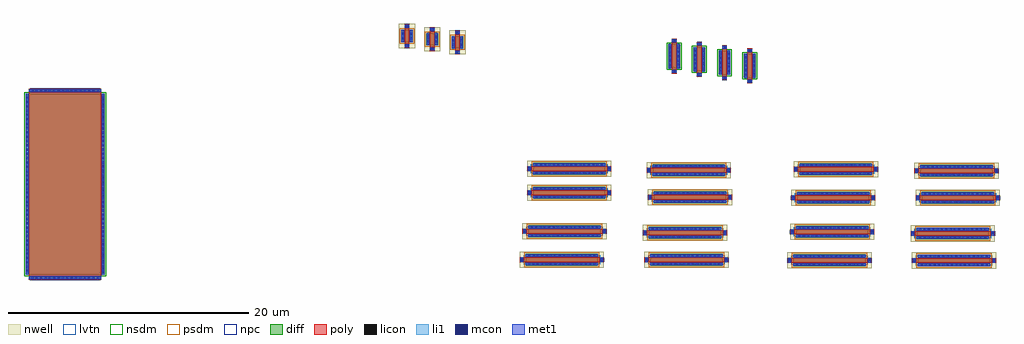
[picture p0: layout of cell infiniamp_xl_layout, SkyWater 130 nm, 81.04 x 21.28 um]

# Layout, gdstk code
from math import pi, radians
import gdstk
lib = gdstk.Library(unit=1e-6, precision=1e-09)
def R(c, l, rs):  # rectangles x0, y0, x1, y1
    for r in rs: c.add(gdstk.rectangle(r[:2], r[2:], *l))
def A(c, l, x, y, w, h, nx, ny, dx, dy):  # array of equal rectangles
    R(c, l, [(x+i*dx, y+j*dy, x+i*dx+w, y+j*dy+h) for i in range(nx) for j in range(ny)])
nwell = (64, 20)
diff = (65, 20)
poly = (66, 20)
licon = (66, 44)
li1 = (67, 20)
mcon = (67, 44)
met1 = (68, 20)
nsdm = (93, 44)
psdm = (94, 20)
npc = (95, 20)
lvtn = (125, 44)

sky130_fd_pr__pfet_01v8_ = lib.new_cell('sky130_fd_pr__pfet_01v8_lvt_UJMANC')
R(sky130_fd_pr__pfet_01v8_, nwell, [(0,0.005,1.34,7.005)])
R(sky130_fd_pr__pfet_01v8_, diff, [(0.18,0.505,1.16,6.505)])
R(sky130_fd_pr__pfet_01v8_, poly, [(0.47,0.02,0.87,6.99)])
A(sky130_fd_pr__pfet_01v8_, licon, 0.24, 0.7, 0.17, 0.17, 1, 17, 0, 0.34)
A(sky130_fd_pr__pfet_01v8_, licon, 0.93, 0.7, 0.17, 0.17, 1, 17, 0, 0.34)
R(sky130_fd_pr__pfet_01v8_, licon, [(0.585,0.1,0.755,0.27), (0.585,6.74,0.755,6.91)])
R(sky130_fd_pr__pfet_01v8_, li1, [(0.47,0.1,0.87,0.27), (0.24,0.485,0.41,6.525), (0.93,0.485,1.1,6.525), (0.47,6.74,0.87,6.91)])
A(sky130_fd_pr__pfet_01v8_, mcon, 0.24, 0.72, 0.17, 0.17, 1, 16, 0, 0.36)
A(sky130_fd_pr__pfet_01v8_, mcon, 0.93, 0.72, 0.17, 0.17, 1, 16, 0, 0.36)
R(sky130_fd_pr__pfet_01v8_, mcon, [(0.585,0.1,0.755,0.27), (0.585,6.74,0.755,6.91)])
R(sky130_fd_pr__pfet_01v8_, met1, [(0.49,0.07,0.85,0.3), (0.21,0.505,0.44,6.505), (0.9,0.505,1.13,6.505), (0.49,6.71,0.85,6.94)])
R(sky130_fd_pr__pfet_01v8_, psdm, [(0.055,0.38,1.285,6.63)])
R(sky130_fd_pr__pfet_01v8_, npc, [(0.485,0,0.855,0.37), (0.485,6.64,0.855,7.01)])
R(sky130_fd_pr__pfet_01v8_, lvtn, [(0.29,0.325,1.05,6.685)])
sky130_fd_pr__pfet_01v8_.add(gdstk.Label('D', (0.325,3.505), layer=67, texttype=5))
sky130_fd_pr__pfet_01v8_.add(gdstk.Label('S', (1.015,3.505), layer=67, texttype=5))
sky130_fd_pr__pfet_01v8_.add(gdstk.Label('G', (0.67,6.825), layer=67, texttype=5))

c_sky130_fd_pr__pfet_01v8_ = lib.new_cell('sky130_fd_pr__pfet_01v8_U2XP3C')
R(c_sky130_fd_pr__pfet_01v8_, nwell, [(0,0.005,1.34,2.005)])
R(c_sky130_fd_pr__pfet_01v8_, diff, [(0.18,0.505,1.16,1.505)])
R(c_sky130_fd_pr__pfet_01v8_, poly, [(0.47,0.02,0.87,1.99)])
A(c_sky130_fd_pr__pfet_01v8_, licon, 0.24, 0.58, 0.17, 0.17, 1, 3, 0, 0.34)
A(c_sky130_fd_pr__pfet_01v8_, licon, 0.93, 0.58, 0.17, 0.17, 1, 3, 0, 0.34)
R(c_sky130_fd_pr__pfet_01v8_, licon, [(0.585,0.1,0.755,0.27), (0.585,1.74,0.755,1.91)])
R(c_sky130_fd_pr__pfet_01v8_, li1, [(0.47,0.1,0.87,0.27), (0.24,0.485,0.41,1.525), (0.93,0.485,1.1,1.525), (0.47,1.74,0.87,1.91)])
R(c_sky130_fd_pr__pfet_01v8_, mcon, [(0.585,0.1,0.755,0.27), (0.24,0.74,0.41,0.91), (0.93,0.74,1.1,0.91), (0.24,1.1,0.41,1.27), (0.93,1.1,1.1,1.27), (0.585,1.74,0.755,1.91)])
R(c_sky130_fd_pr__pfet_01v8_, met1, [(0.49,0.07,0.85,0.3), (0.21,0.505,0.44,1.505), (0.9,0.505,1.13,1.505), (0.49,1.71,0.85,1.94)])
R(c_sky130_fd_pr__pfet_01v8_, psdm, [(0.055,0.38,1.285,1.63)])
R(c_sky130_fd_pr__pfet_01v8_, npc, [(0.485,0,0.855,0.37), (0.485,1.64,0.855,2.01)])
c_sky130_fd_pr__pfet_01v8_.add(gdstk.Label('D', (0.325,1.005), layer=67, texttype=5))
c_sky130_fd_pr__pfet_01v8_.add(gdstk.Label('S', (1.015,1.005), layer=67, texttype=5))
c_sky130_fd_pr__pfet_01v8_.add(gdstk.Label('G', (0.67,1.825), layer=67, texttype=5))

sky130_fd_pr__nfet_01v8_ = lib.new_cell('sky130_fd_pr__nfet_01v8_AYTXYC')
R(sky130_fd_pr__nfet_01v8_, diff, [(-47.7,-5.26,-41.12,9.74)])
R(sky130_fd_pr__nfet_01v8_, poly, [(-47.41,-5.7,-41.41,10.18)])
A(sky130_fd_pr__nfet_01v8_, licon, -47.215, -5.62, 0.17, 0.17, 17, 2, 0.34, 15.55)
A(sky130_fd_pr__nfet_01v8_, licon, -47.64, -5.155, 0.17, 0.17, 1, 44, 0, 0.34)
A(sky130_fd_pr__nfet_01v8_, licon, -41.35, -5.155, 0.17, 0.17, 1, 44, 0, 0.34)
R(sky130_fd_pr__nfet_01v8_, li1, [(-47.41,-5.62,-41.41,-5.45), (-47.64,-5.28,-47.47,9.76), (-41.35,-5.28,-41.18,9.76), (-47.41,9.93,-41.41,10.1)])
A(sky130_fd_pr__nfet_01v8_, mcon, -47.195, -5.62, 0.17, 0.17, 16, 2, 0.36, 15.55)
A(sky130_fd_pr__nfet_01v8_, mcon, -47.64, -5.045, 0.17, 0.17, 1, 41, 0, 0.36)
A(sky130_fd_pr__nfet_01v8_, mcon, -41.35, -5.045, 0.17, 0.17, 1, 41, 0, 0.36)
R(sky130_fd_pr__nfet_01v8_, met1, [(-47.39,-5.65,-41.43,-5.42), (-47.67,-5.26,-47.44,9.74), (-41.38,-5.26,-41.15,9.74), (-47.39,9.9,-41.43,10.13)])
R(sky130_fd_pr__nfet_01v8_, nsdm, [(-47.825,-5.385,-40.995,9.865)])
R(sky130_fd_pr__nfet_01v8_, npc, [(-47.315,-5.72,-41.505,-5.35), (-47.315,9.83,-41.505,10.2)])
sky130_fd_pr__nfet_01v8_.add(gdstk.Label('D', (-47.555,2.24), layer=67, texttype=5))
sky130_fd_pr__nfet_01v8_.add(gdstk.Label('S', (-41.265,2.24), layer=67, texttype=5))
sky130_fd_pr__nfet_01v8_.add(gdstk.Label('G', (-44.41,10.015), layer=67, texttype=5))

c_sky130_fd_pr__nfet_01v8_ = lib.new_cell('sky130_fd_pr__nfet_01v8_7L9FB8')
R(c_sky130_fd_pr__nfet_01v8_, diff, [(-0.49,-1,0.49,1)])
R(c_sky130_fd_pr__nfet_01v8_, poly, [(-0.2,-1.44,0.2,1.44)])
A(c_sky130_fd_pr__nfet_01v8_, licon, -0.43, -0.935, 0.17, 0.17, 1, 6, 0, 0.34)
A(c_sky130_fd_pr__nfet_01v8_, licon, 0.26, -0.935, 0.17, 0.17, 1, 6, 0, 0.34)
R(c_sky130_fd_pr__nfet_01v8_, licon, [(-0.085,-1.36,0.085,-1.19), (-0.085,1.19,0.085,1.36)])
R(c_sky130_fd_pr__nfet_01v8_, li1, [(-0.2,-1.36,0.2,-1.19), (-0.43,-1.02,-0.26,1.02), (0.26,-1.02,0.43,1.02), (-0.2,1.19,0.2,1.36)])
A(c_sky130_fd_pr__nfet_01v8_, mcon, -0.43, -0.805, 0.17, 0.17, 1, 5, 0, 0.36)
A(c_sky130_fd_pr__nfet_01v8_, mcon, 0.26, -0.805, 0.17, 0.17, 1, 5, 0, 0.36)
R(c_sky130_fd_pr__nfet_01v8_, mcon, [(-0.085,-1.36,0.085,-1.19), (-0.085,1.19,0.085,1.36)])
R(c_sky130_fd_pr__nfet_01v8_, met1, [(-0.18,-1.39,0.18,-1.16), (-0.46,-1,-0.23,1), (0.23,-1,0.46,1), (-0.18,1.16,0.18,1.39)])
R(c_sky130_fd_pr__nfet_01v8_, nsdm, [(-0.615,-1.125,0.615,1.125)])
R(c_sky130_fd_pr__nfet_01v8_, npc, [(-0.185,-1.46,0.185,-1.09), (-0.185,1.09,0.185,1.46)])
c_sky130_fd_pr__nfet_01v8_.add(gdstk.Label('D', (-0.345,0), layer=67, texttype=5))
c_sky130_fd_pr__nfet_01v8_.add(gdstk.Label('S', (0.345,0), layer=67, texttype=5))
c_sky130_fd_pr__nfet_01v8_.add(gdstk.Label('G', (0,1.275), layer=67, texttype=5))

infiniamp_xl_layout = lib.new_cell('infiniamp_xl_layout')
infiniamp_xl_layout.add(gdstk.Reference(sky130_fd_pr__pfet_01v8_, (20.67,-11.72), rotation=3*pi/2))
infiniamp_xl_layout.add(gdstk.Reference(c_sky130_fd_pr__pfet_01v8_, (4.19,-0.535)))
infiniamp_xl_layout.add(gdstk.Reference(c_sky130_fd_pr__pfet_01v8_, (2.095,-0.27)))
infiniamp_xl_layout.add(gdstk.Reference(c_sky130_fd_pr__pfet_01v8_, (0,-0.005)))
infiniamp_xl_layout.add(gdstk.Reference(sky130_fd_pr__nfet_01v8_, (16.695,-13.55)))
infiniamp_xl_layout.add(gdstk.Reference(sky130_fd_pr__pfet_01v8_, (10.64,-11.345), rotation=3*pi/2))
infiniamp_xl_layout.add(gdstk.Reference(sky130_fd_pr__pfet_01v8_, (20.56,-9.475), rotation=3*pi/2))
infiniamp_xl_layout.add(gdstk.Reference(sky130_fd_pr__pfet_01v8_, (10.64,-9.36), rotation=3*pi/2))
infiniamp_xl_layout.add(gdstk.Reference(c_sky130_fd_pr__nfet_01v8_, (22.85,-0.68)))
infiniamp_xl_layout.add(gdstk.Reference(c_sky130_fd_pr__nfet_01v8_, (24.945,-0.945)))
infiniamp_xl_layout.add(gdstk.Reference(c_sky130_fd_pr__nfet_01v8_, (29.135,-1.475)))
infiniamp_xl_layout.add(gdstk.Reference(c_sky130_fd_pr__nfet_01v8_, (27.04,-1.21)))
infiniamp_xl_layout.add(gdstk.Reference(sky130_fd_pr__pfet_01v8_, (20.365,-16.92), rotation=3*pi/2))
infiniamp_xl_layout.add(gdstk.Reference(sky130_fd_pr__pfet_01v8_, (10.02,-16.91), rotation=3*pi/2))
infiniamp_xl_layout.add(gdstk.Reference(sky130_fd_pr__pfet_01v8_, (20.255,-14.675), rotation=3*pi/2))
infiniamp_xl_layout.add(gdstk.Reference(sky130_fd_pr__pfet_01v8_, (42.9,-11.77), rotation=3*pi/2))
infiniamp_xl_layout.add(gdstk.Reference(sky130_fd_pr__pfet_01v8_, (32.555,-11.76), rotation=3*pi/2))
infiniamp_xl_layout.add(gdstk.Reference(sky130_fd_pr__pfet_01v8_, (42.79,-9.525), rotation=3*pi/2))
infiniamp_xl_layout.add(gdstk.Reference(sky130_fd_pr__pfet_01v8_, (32.775,-9.395), rotation=3*pi/2))
infiniamp_xl_layout.add(gdstk.Reference(sky130_fd_pr__pfet_01v8_, (42.595,-16.97), rotation=3*pi/2))
infiniamp_xl_layout.add(gdstk.Reference(sky130_fd_pr__pfet_01v8_, (32.25,-16.96), rotation=3*pi/2))
infiniamp_xl_layout.add(gdstk.Reference(sky130_fd_pr__pfet_01v8_, (42.485,-14.725), rotation=3*pi/2))
infiniamp_xl_layout.add(gdstk.Reference(sky130_fd_pr__pfet_01v8_, (32.47,-14.595), rotation=3*pi/2))
infiniamp_xl_layout.add(gdstk.Reference(sky130_fd_pr__pfet_01v8_, (10.24,-14.545), rotation=3*pi/2))

lib.write_gds('infiniamp_xl_layout.gds')
